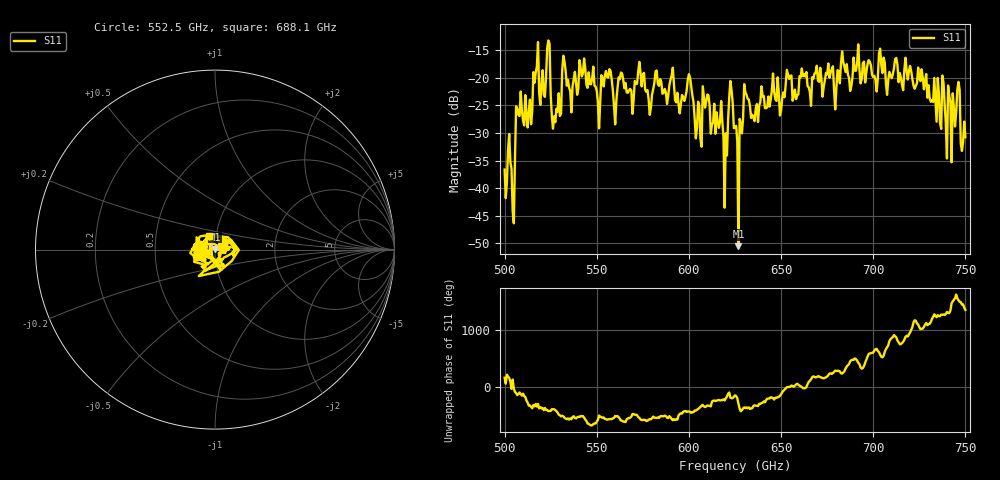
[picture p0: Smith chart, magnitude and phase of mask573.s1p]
!Created with skrf (http://scikit-rf.org).
# GHz S MA R 50.0
!freq magS11 angS11
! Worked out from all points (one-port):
!   401 points, 500 GHz to 750 GHz, reference 50 ohm
!   lowest |S11| = -50.5 dB at 626.9 GHz (marker M1), VSWR 1.01, Z = 50.1 + j0.287 ohm
!   |S11| at or under -10 dB: start of sweep to end of sweep
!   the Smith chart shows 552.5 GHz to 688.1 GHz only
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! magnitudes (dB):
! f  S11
! 500 GHz  -36.6
! 504.4 GHz  -44.1
! 507.5 GHz  -26.7
! 513.8 GHz  -24.0
! 516.9 GHz  -19.1
! 520.6 GHz  -18.6
! 523.8 GHz  -13.2
! 526.9 GHz  -27.0
! 531.2 GHz  -18.6
! 550.6 GHz  -24.5
! 556.2 GHz  -19.9
! 560 GHz  -28.4
! 562.5 GHz  -20.3
! 593.8 GHz  -22.7
! 600.6 GHz  -20.0
! 605.6 GHz  -25.1
! 608.8 GHz  -25.4
! 619.4 GHz  -43.5
! 622.5 GHz  -20.6
! 625 GHz  -29.1
! 626.9 GHz  -50.5
! 631.2 GHz  -23.1
! 656.2 GHz  -24.2
! 687.5 GHz  -22.4
! 718.8 GHz  -20.3
! 741.2 GHz  -23.4
! 745.6 GHz  -22.2
! 750 GHz  -30.8
